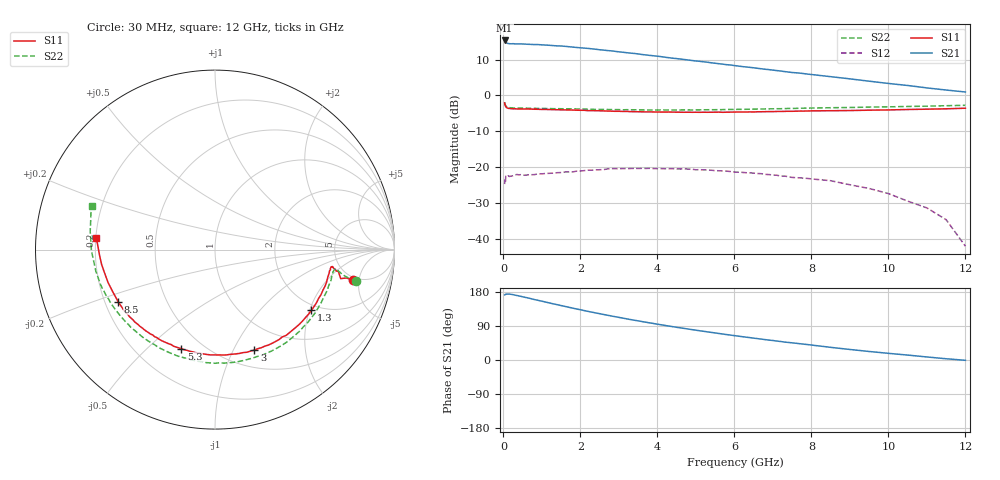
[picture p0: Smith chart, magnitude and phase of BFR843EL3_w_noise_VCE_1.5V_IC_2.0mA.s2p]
! Infineon Technologies  Discrete & RF Semiconductors
! BFR843EL3
! VCE =  1.5 V,  IC =  2.0 mA
! Common Emitter S-Parameters:  Aug 2013
# GHz  S  MA  R  50
!  f  S11  S21  S12  S22
! GHz  MAG  ANG  MAG  ANG  MAG  ANG  MAG  ANG
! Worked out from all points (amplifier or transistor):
!   103 points, 30 MHz to 12 GHz, reference 50 ohm
!   highest |S21| = 15.3 dB at 30 MHz (marker M1)
!   |S21| within 3 dB of that: start of sweep to 2.875 GHz
!   unconditionally stable (mu >= 1): 141.1 MHz to 431.7 MHz; 463.1 MHz to 537.5 MHz; 7.171 GHz to end of sweep
!   at 400 MHz: K = 1.00, MAG = 18.0 dB, |S12| = -22.2 dB
!   at 3.7 GHz: K = 0.73, MSG = 15.8 dB, |S12| = -20.4 dB
!   at 12 GHz: K = 14.54, MAG = 6.9 dB, |S12| = -42.0 dB
!   lowest NFmin = 1.16 dB at 900 MHz
!   S11 on the Smith chart (normalised r, x): 30 MHz: 4.64, -4.12; 1.3 GHz: 1.82, -2.06; 3 GHz: 0.69, -1.21; 5.3 GHz: 0.39, -0.64; 8.5 GHz: 0.25, -0.24; 12 GHz: 0.20, +0.05
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0.03  0.7872 -12.4  5.854 171.9  0.0581 36.0  0.8056 -12.4
0.05  0.7188 -13.0  5.588 173.3  0.0606 35.1  0.7318 -11.3
0.06  0.6977 -10.0  5.477 173.0  0.0745 24.0  0.7196 -10.9
0.08  0.6801 -9.4  5.378 173.8  0.0737 16.7  0.6975 -9.9
0.2  0.6543 -8.4  5.257 173.3  0.075 7.3  0.6734 -9.8
0.45  0.648 -12.9  5.235 168.1  0.0785 4.8  0.6674 -15.9
0.9  0.6417 -23.1  5.125 157.5  0.0806 3.8  0.6602 -29.3
1.3  0.6344 -32.2  4.959 148.1  0.0825 3.6  0.6539 -41.1
1.7  0.6278 -41.4  4.789 139.1  0.0856 1.7  0.652 -52.6
2.1  0.6209 -50.3  4.576 130.4  0.0895 -0.3  0.6451 -63.5
2.6  0.6095 -60.7  4.296 120.1  0.0924 -2.9  0.6377 -76.1
3  0.6016 -68.7  4.061 112.4  0.095 -6.0  0.6348 -85.4
3.5  0.5928 -78.4  3.797 103.2  0.0959 -9.9  0.6296 -96.4
4.1  0.587 -88.9  3.476 92.9  0.0953 -15.5  0.6279 -108.2
4.7  0.5832 -99.4  3.177 83.2  0.0947 -20.1  0.6291 -119.1
5.3  0.583 -108.7  2.91 74.2  0.0916 -25.1  0.6322 -128.7
6.1  0.5881 -120.4  2.573 63.0  0.0851 -31.9  0.6405 -140.7
7.1  0.5982 -134.4  2.226 50.0  0.0771 -40.0  0.6532 -153.7
8.5  0.6126 -151.8  1.83 33.4  0.0647 -50.8  0.6747 -169.8
10.5  0.6371 -172.5  1.378 13.0  0.0336 -71.6  0.7028 171.7
11.5  0.6516 178.8  1.191 3.3  0.0185 -81.9  0.7197 163.9
12  0.6637 174.6  1.118 -0.8  0.0079 -75.4  0.729 160.6
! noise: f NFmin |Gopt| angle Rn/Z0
0.45  1.17  0.35  5  0.32
0.9  1.16  0.34  17  0.3
1.5  1.18  0.35  28  0.27
1.9  1.2  0.35  33  0.26
2.4  1.23  0.36  42  0.25
3.5  1.3  0.35  65  0.22
5.5  1.47  0.37  100  0.18
8  1.7  0.43  142  0.11
10  1.88  0.46  196  0.08
